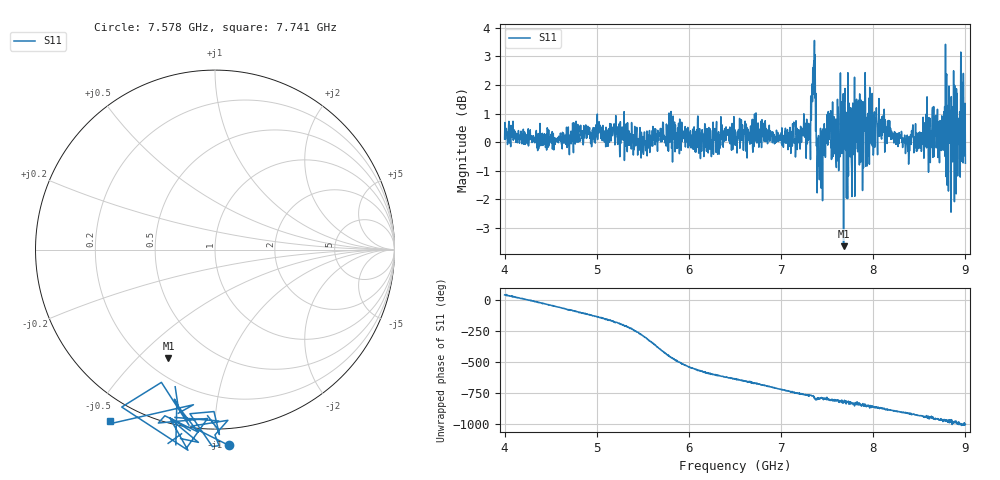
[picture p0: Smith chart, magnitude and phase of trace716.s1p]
! Created with skrf 1.8.0 (http://scikit-rf.org).
# Hz S RI R 50.0
!freq ReS11 ImS11
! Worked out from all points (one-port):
!   1601 points, 4 GHz to 9 GHz, reference 50 ohm
!   lowest |S11| = -3.6 dB at 7.678 GHz (marker M1), VSWR 4.83, Z = 14.6 - j31 ohm
!   |S11| at or under -10 dB: nowhere
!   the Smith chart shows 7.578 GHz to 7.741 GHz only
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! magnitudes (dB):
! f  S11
! 4 GHz  0.1
! 4.625 GHz  -0.2
! 5.25 GHz  -0.5
! 5.875 GHz  -0.2
! 6.5 GHz  0.1
! 7.125 GHz  0.6
! 7.294 GHz  0.2
! 7.347 GHz  1.7
! 7.362 GHz  3.6
! 7.4 GHz  -0.3
! 7.412 GHz  -0.6
! 7.512 GHz  1.1
! 7.606 GHz  0.0
! 7.678 GHz  -3.6
! 7.697 GHz  0.2
! 7.75 GHz  -0.5
! 7.784 GHz  -0.1
! 7.822 GHz  0.0
! 7.875 GHz  0.1
! 7.891 GHz  0.5
! 8.375 GHz  -0.3
! 8.566 GHz  0.7
! 8.738 GHz  -0.3
! 8.775 GHz  1.2
! 8.875 GHz  0.3
! 8.956 GHz  -0.1
! 8.972 GHz  0.8
! 9 GHz  -0.7
